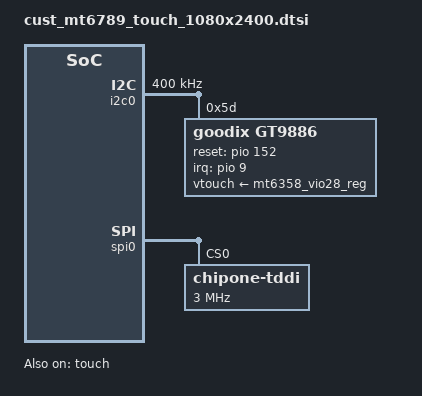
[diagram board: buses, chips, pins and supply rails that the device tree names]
// SPDX-License-Identifier: (GPL-2.0 OR MIT)
/*
 * Copyright (C) 2020 MediaTek Inc.
 */
/* TOUCH start */

&i2c0 {
	clock-frequency = <400000>;
	pinctrl-names = "default", "ts_int_active",
		"ts_reset_active", "ts_int_suspend",
		"ts_reset_suspend", "ts_i2c_mode";
	pinctrl-0 = <&ctp_pins_default>;
	pinctrl-1 = <&ctp_ts_int_active>;
	pinctrl-2 = <&ctp_ts_reset_active>;
	pinctrl-3 = <&ctp_ts_int_suspend>;
	pinctrl-4 = <&ctp_ts_reset_suspend>;
	pinctrl-5 = <&ctp_ts_i2c_mode>;

	gt9886@5d {
		compatible = "goodix,gt9886";
		reg = <0x5d>;
		status = "ok";
		interrupt-parent = <&pio>;
		interrupts = <9 IRQ_TYPE_EDGE_FALLING 9 0>;
		vtouch-supply = <&mt6358_vio28_reg>;
		goodix,reset-gpio = <&pio 152 0x0>;
		goodix,irq-gpio = <&pio 9 0x0>;
		goodix,irq-flags = <2>; /* 1:rising, 2:falling;*/
		goodix,panel-max-id = <10>;
		goodix,panel-max-x = <1080>;
		goodix,panel-max-y = <2280>;
		goodix,panel-max-w = <256>;
		goodix,panel-max-p = <256>;
		goodix,input-max-x = <1080>;
		goodix,input-max-y = <2280>;
		goodix,panel-key-map = <158 172 217>; /*BACK,HOMEPAGE,SEARCH*/
		goodix,power-on-delay-us = <10000>; /*10ms*/
		goodix,power-off-delay-us = <5000>;
		goodix,firmware-version = "6877v01";
		goodix,config-version = "6877v01";
		/*goodix,swap-axis;*/
		/*goodix,x2x;*/
		/*goodix,y2y;*/
		goodix,pen-enable;
		goodix,key-of-pen = <331 332>;/*BTN_STYLUS, BTN_STYLUS2*/
		tpd-filter-enable = <0>;
		tpd-filter-pixel-density = <161>;
		tpd-filter-custom-prameters = <0 0 0 0 0 0 0 0 0 0 0 0>;
		tpd-filter-custom-speed = <0 0 0>;
	};

};

&spi0 {
	status = "ok";
	max-freq = <20000000>;
	chipone-tddi@0 {
                compatible = "chipone-tddi";
                reg = <0x00>;
                spi-max-frequency = <3000000>;
                spi-cpha;
                spi-cpol;
                poll_mode = <0>;
                type = <0>;
                chipone,x-res = <720>;
                chipone,y-res = <1560>;
		status = "okay";
    };	
};

&touch {
	tpd-resolution = <720 1560>;
	lcm-resolution = <720 1560>;
	tpd-cfg-version = "config19";
	tpd-max-touch-num = <10>;
	interrupt-parent = <&pio>;
	interrupts = <9 IRQ_TYPE_EDGE_FALLING 9 0>;
	goodix,eint-gpio = <&pio 9 0x0>;
	goodix,reset-gpio = <&pio 107 0x0>;
	/*vtouch-supply = <&mt_pmic_vldo28_ldo_reg>;*/
	/* Rotate cord when open blew lables */
	/*goodix,x2x;*/
	/*goodix,y2y;*/

	tpd-filter-enable = <0>;
	tpd-filter-pixel-density = <168>;
	tpd-filter-custom-prameters = <0 0 0 0 0 0 0 0 0 0 0 0>;
	tpd-filter-custom-speed = <0 0 0>;
	
	pinctrl-names = "default", "state_eint_as_int", "state_eint_output0",
		"state_eint_output1", "state_rst_output0", "state_rst_output1";
	pinctrl-0 = <&ctp_pins_default_t>;
	pinctrl-1 = <&ctp_pins_eint_as_int>;
	pinctrl-2 = <&ctp_pins_eint_output0>;
	pinctrl-3 = <&ctp_pins_eint_output1>;
	pinctrl-4 = <&ctp_pins_rst_output0>;
	pinctrl-5 = <&ctp_pins_rst_output1>;
	status = "okay";
};

&pio {
	ctp_pins_default_t: eint0default {
	};
	ctp_pins_eint_as_int: eint@0 {
		pins_cmd_dat {
			pinmux = <PINMUX_GPIO9__FUNC_GPIO9>;
			slew-rate = <0>;
			bias-disable;
		};
	};
	ctp_pins_eint_output0: eintoutput0 {
		pins_cmd_dat {
			pinmux = <PINMUX_GPIO9__FUNC_GPIO9>;
			slew-rate = <1>;
			output-low;
		};
	};
	ctp_pins_eint_output1: eintoutput1 {
		pins_cmd_dat {
			pinmux = <PINMUX_GPIO9__FUNC_GPIO9>;
			slew-rate = <1>;
			output-high;
		};
	};
	ctp_pins_rst_output0: rstoutput0 {
		pins_cmd_dat {
			pinmux = <PINMUX_GPIO107__FUNC_GPIO107>;
			slew-rate = <1>;
			output-low;
		};
	};
	ctp_pins_rst_output1: rstoutput1 {
		pins_cmd_dat {
			pinmux = <PINMUX_GPIO107__FUNC_GPIO107>;
			slew-rate = <1>;
			output-high;
		};
	};
};

&pio {
	ctp_pins_default: eintdefault {
	};
	ctp_gt9896s_pins_default: pins_default {
	};
	ctp_ts_int_active: int_active {
		pins_cmd_dat {
			pinmux = <PINMUX_GPIO9__FUNC_GPIO9>;
			input-enable;
		};
	};
	ctp_ts_reset_active: reset_active {
		pins_cmd_dat {
			pinmux = <PINMUX_GPIO152__FUNC_GPIO152>;
			output-high;
		};
	};
	ctp_ts_int_suspend: int_suspend {
		pins_cmd_dat {
			pinmux = <PINMUX_GPIO9__FUNC_GPIO9>;
			output-low;
		};
	};
	ctp_ts_reset_suspend: reset_suspend {
		pins_cmd_dat {
			pinmux = <PINMUX_GPIO152__FUNC_GPIO152>;
			output-low;
		};
	};
	ctp_ts_i2c_mode: i2cmode_default {
		pins_cmd_dat {
			pinmux = <PINMUX_GPIO130__FUNC_SCL0>,
				<PINMUX_GPIO131__FUNC_SDA0>;
		};
	};
	ctp_gt9896s_int_active: int1_active {
		pins_cmd_dat {
			pinmux = <PINMUX_GPIO9__FUNC_GPIO9>;
			input-enable;
		};
	};
	ctp_gt9896s_reset_active: reset1_active {
		pins_cmd_dat {
			pinmux = <PINMUX_GPIO152__FUNC_GPIO152>;
			output-high;
		};
	};
	ctp_gt9896s_int_suspend: int1_suspend {
		pins_cmd_dat {
			pinmux = <PINMUX_GPIO9__FUNC_GPIO9>;
			output-low;
		};
	};
	ctp_gt9896s_reset_suspend: reset1_suspend {
		pins_cmd_dat {
			pinmux = <PINMUX_GPIO152__FUNC_GPIO152>;
			output-low;
		};
	};
	ctp_gt9896s_spi_mode: spimode_default {
		pins_cmd_dat {
			pinmux = <PINMUX_GPIO30__FUNC_SPI0_CLK>,
				<PINMUX_GPIO31__FUNC_SPI0_CSB>,
				<PINMUX_GPIO32__FUNC_SPI0_MO>,
				<PINMUX_GPIO33__FUNC_SPI0_MI>;
			drive-strength = <2>;
		};
	};
};
/* TOUCH end */

